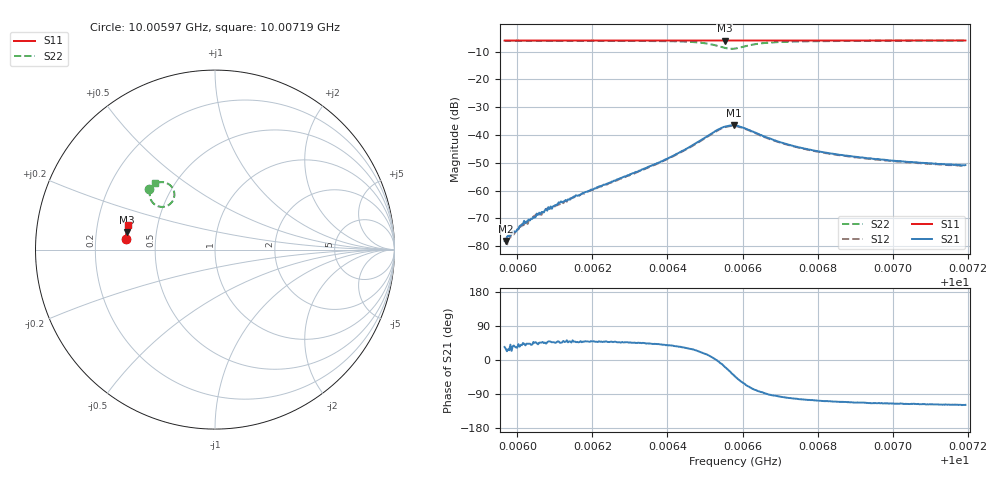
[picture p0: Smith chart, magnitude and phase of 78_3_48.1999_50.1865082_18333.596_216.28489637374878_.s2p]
#  HZ  S  RI  R  50.00
! Rohde & Schwarz Vector Network Analyzer
! Rohde-Schwarz,ZNB20-2Port,1311601062101988,3.16
! Created: UTC 3/20/2024, 11:39:34 AM
! freq[Hz]  re:S11  im:S11  re:S21  im:S21  re:S12  im:S12  re:S22  im:S22
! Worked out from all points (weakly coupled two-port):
!   401 points, 10.00597 GHz to 10.00719 GHz, reference 50 ohm
!   highest |S21| = -36.52 dB at 10.00658 GHz (marker M1); lowest = -78.2 dB at 10.00597 GHz (marker M2)
!   lowest |S11| = -6.0 dB at 10.00655 GHz (marker M3), VSWR 3.01, Z = 16.8 + j4.38 ohm
!   |S11| at or under -10 dB: nowhere
!   |S22| runs from -9.0 to -6.0 dB; largest |S21 - S12| = 0.00099
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1.0005966e10  -0.4979 0.0602  0.000102 6.93e-05  0.000104 7.08e-05  -0.3683 0.3358
1.0005969e10  -0.4979 0.0604  0.000107 6.06e-05  0.000102 8.77e-05  -0.3681 0.3361
1.0005975e10  -0.4978 0.0608  0.000135 7.22e-05  0.00012 5.57e-05  -0.3679 0.3365
1.0005981e10  -0.4978 0.0612  0.00012 0.000102  9.68e-05 0.000104  -0.3675 0.3368
1.0006e10  -0.4978 0.0624  0.000168 0.000108  0.000153 0.000122  -0.3665 0.3381
1.0006012e10  -0.4976 0.0633  0.000185 0.00015  0.000192 0.000156  -0.3656 0.3389
1.0006046e10  -0.4974 0.0654  0.000228 0.000232  0.000228 0.000265  -0.3635 0.3412
1.0006061e10  -0.4973 0.0665  0.000261 0.000269  0.000235 0.000293  -0.3624 0.3423
1.0006079e10  -0.4972 0.0676  0.000299 0.000317  0.000299 0.000366  -0.3614 0.3436
1.000611e10  -0.4969 0.0697  0.000403 0.000462  0.000355 0.00043  -0.359 0.3459
1.0006172e10  -0.4964 0.0736  0.000596 0.00064  0.000532 0.000695  -0.354 0.3506
1.0006377e10  -0.4946 0.087  0.00237 0.00213  0.00228 0.0022  -0.3244 0.3702
1.0006494e10  -0.4929 0.0947  0.00802 0.00275  0.00765 0.00307  -0.2655 0.3688
1.0006552e10  -0.4914 0.0979  0.0134 -0.00428  0.0133 -0.00334  -0.2275 0.2932
1.0006577e10  -0.4914 0.0989  0.0114 -0.00968  0.0115 -0.00886  -0.2581 0.2483
1.000658e10  -0.4914 0.099  0.0107 -0.0101  0.0111 -0.00924  -0.2642 0.245
1.0006648e10  -0.4917 0.103  0.00103 -0.00995  0.00151 -0.00967  -0.3535 0.2705
1.0006715e10  -0.4912 0.1076  -0.00109 -0.00686  -0.00072 -0.00678  -0.3638 0.3085
1.0006786e10  -0.4905 0.1122  -0.00144 -0.00515  -0.0012 -0.00507  -0.3603 0.3291
1.0006893e10  -0.4889 0.1191  -0.00153 -0.0038  -0.00132 -0.00381  -0.3527 0.3466
1.0006991e10  -0.4878 0.1254  -0.00146 -0.00316  -0.00127 -0.00317  -0.3461 0.3567
1.0007194e10  -0.4846 0.1382  -0.00136 -0.00253  -0.00119 -0.00253  -0.3339 0.3718
